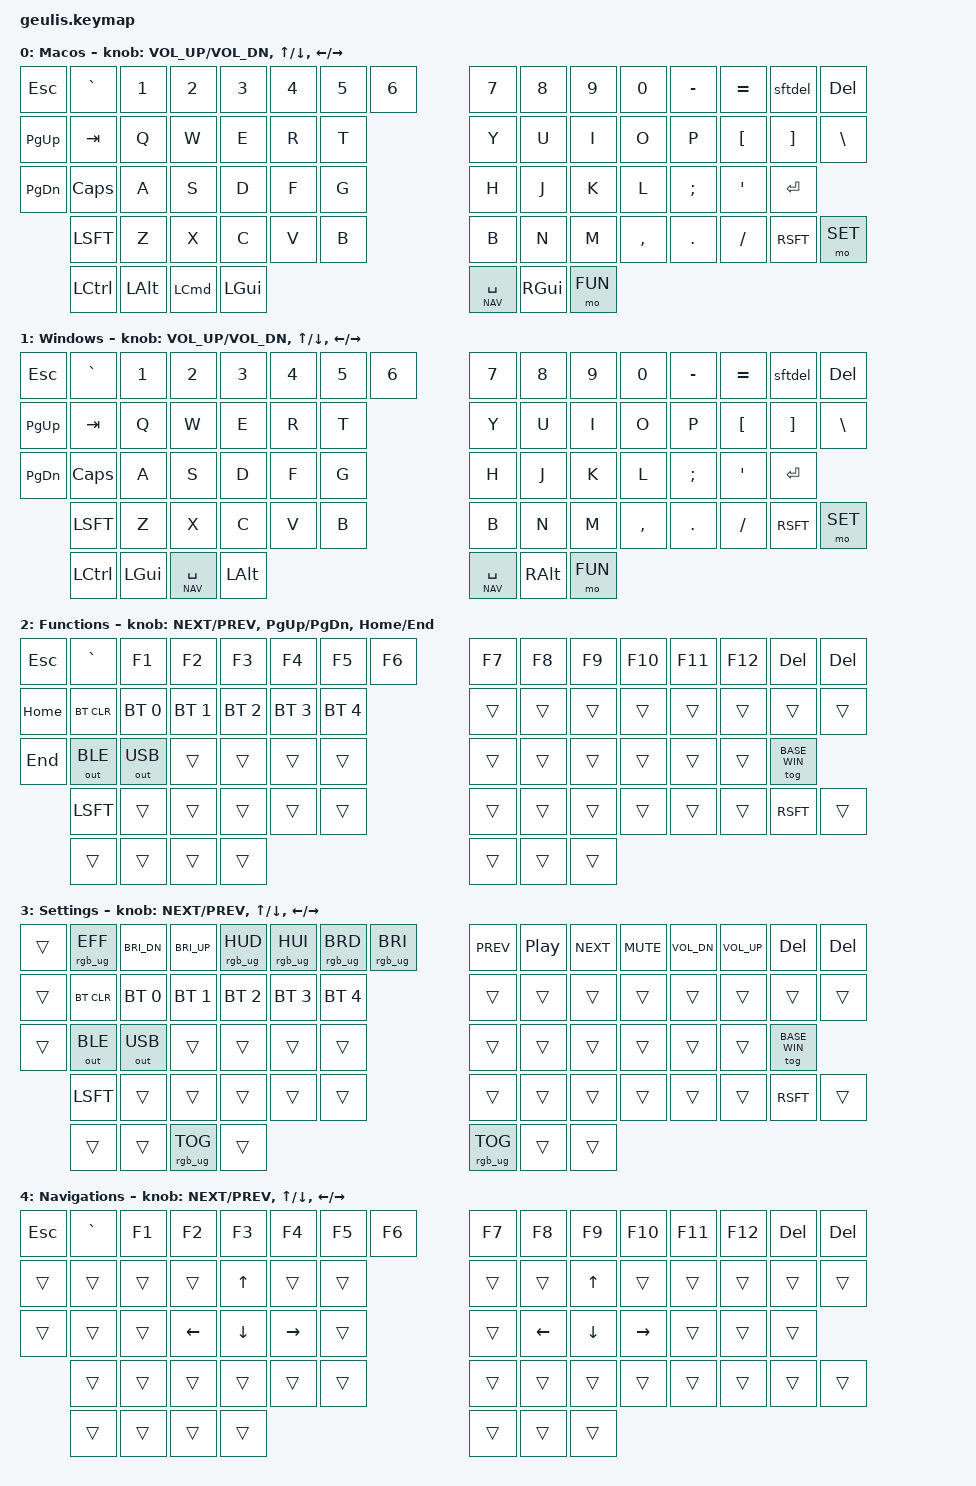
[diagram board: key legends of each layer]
/*
 * SPDX-License-Identifier: MIT
 */

#include <behaviors.dtsi>
#include <dt-bindings/zmk/keys.h>
#include <dt-bindings/zmk/bt.h>
#include <dt-bindings/zmk/outputs.h>
#include <dt-bindings/zmk/rgb.h>

#define BASE_MAC 0
#define BASE_WIN 1
#define FUN 2
#define SET 3
#define NAV 4

#define XXX &none
#define ___ &trans

&lt {
    tapping-term-ms = <400>;
};

/ {
	
	behaviors {
        sftdel: shift_del {
            compatible = "zmk,behavior-mod-morph";
            label = "SHIFT_DEL";
            #binding-cells = <0>;
			bindings = <&kp BKSP>, <&kp DEL>;
        	mods = <(MOD_LSFT|MOD_RSFT)>;
        };
    };


	 keymap {
		compatible = "zmk,keymap";
		

		default_layer {
			label = "Macos";

			bindings = <
	&kp ESC     &kp GRAVE &kp NUM_1  &kp NUM_2    &kp NUM_3  &kp NUM_4    &kp NUM_5 &kp NUM_6           &kp NUM_7 &kp NUM_8 &kp NUM_9 &kp NUM_0 &kp MINUS &kp EQL  &sftdel  &kp DEL
	&kp PG_UP   &kp TAB   &kp Q      &kp   W      &kp   E    &kp   R      &kp   T                       &kp   Y   &kp   U   &kp   I   &kp   O   &kp   P   &kp LBKT &kp RBKT &kp BSLH 
	&kp PG_DN   &kp CAPS  &kp A      &kp   S      &kp   D    &kp   F      &kp   G                		&kp   H   &kp   J   &kp   K   &kp   L   &kp  SCLN &kp QUOT &kp RET
	            &kp LSFT  &kp Z      &kp   X      &kp   C    &kp   V      &kp   B   					&kp   B   &kp   N   &kp   M   &kp  CMMA &kp  DOT  &kp FSLH &kp RSFT &mo SET
	            &kp LCTL  &kp LALT   &kp LCMD  &kp  LGUI     										&lt NAV SPC  &kp  RGUI  &mo FUN 
			>;

		    sensor-bindings = <&inc_dec_kp C_VOL_UP C_VOL_DN &inc_dec_kp UP DOWN &inc_dec_kp LEFT RIGHT>;
		};

        windows {
			label = "Windows";

			bindings = <
	&kp ESC     &kp GRAVE &kp NUM_1  &kp NUM_2    &kp NUM_3  &kp NUM_4    &kp NUM_5 &kp NUM_6           &kp NUM_7 &kp NUM_8 &kp NUM_9 &kp NUM_0 &kp MINUS &kp EQL  &sftdel  &kp DEL
	&kp PG_UP   &kp TAB   &kp Q      &kp   W      &kp   E    &kp   R      &kp   T                       &kp   Y   &kp   U   &kp   I   &kp   O   &kp   P   &kp LBKT &kp RBKT &kp BSLH 
	&kp PG_DN   &kp CAPS  &kp A      &kp   S      &kp   D    &kp   F      &kp   G                		&kp   H   &kp   J   &kp   K   &kp   L   &kp  SCLN &kp QUOT &kp RET
	            &kp LSFT  &kp Z      &kp   X      &kp   C    &kp   V      &kp   B   					&kp   B   &kp   N   &kp   M   &kp  CMMA &kp  DOT  &kp FSLH &kp RSFT &mo SET
	            &kp LCTL  &kp LGUI   &lt NAV SPC  &kp  LALT     										&lt NAV SPC  &kp  RALT  &mo FUN 
			>;

		    sensor-bindings = <&inc_dec_kp C_VOL_UP C_VOL_DN &inc_dec_kp UP DOWN &inc_dec_kp LEFT RIGHT>;
		};

        functions {
			label = "Functions";

			bindings = <
	&kp ESC   &kp GRAVE    &kp F1       &kp F2       &kp F3        &kp F4        &kp F5        &kp F6         &kp F7 &kp F8 &kp F9 &kp F10 &kp F11 &kp F12  &kp DEL        &kp DEL
	&kp HOME  &bt BT_CLR   &bt BT_SEL 0 &bt BT_SEL 1 &bt BT_SEL 2  &bt BT_SEL 3  &bt BT_SEL 4                 ___    ___    ___    ___     ___     ___      ___            ___
	&kp END   &out OUT_BLE &out OUT_USB ___          ___           ___           ___                          ___    ___    ___    ___     ___     ___      &tog BASE_WIN
	          &kp LSFT     ___          ___          ___           ___           ___                          ___    ___    ___    ___     ___     ___      &kp RSFT       ___
	       	  ___ 		   ___          ___          ___            										  ___    ___    ___ 
			>;

		    sensor-bindings = <&inc_dec_kp C_NEXT C_PREV &inc_dec_kp PG_UP PG_DN &inc_dec_kp HOME END>;
		};

        settings {
			label = "Settings";

			bindings = <
	___  &rgb_ug RGB_EFF  &kp C_BRI_DN  &kp C_BRI_UP     &rgb_ug RGB_HUD  &rgb_ug RGB_HUI  &rgb_ug RGB_BRD &rgb_ug RGB_BRI              &kp C_PREV &kp C_PP &kp C_NEXT &kp K_MUTE &kp C_VOL_DN  &kp C_VOL_UP   &kp DEL &kp DEL
	___  &bt BT_CLR       &bt BT_SEL 0  &bt BT_SEL 1     &bt BT_SEL 2     &bt BT_SEL 3     &bt BT_SEL 4    ___                          ___        ___      ___        ___        ___           ___            ___
	___  &out OUT_BLE     &out OUT_USB  ___ 		     ___ 			  ___ 				___ 		   ___ 						    ___        ___      ___        ___        ___           &tog BASE_WIN
	     &kp LSFT         ___ 			___ 		     ___ 			  ___ 				___ 		   ___ 						    ___        ___      ___        ___        ___           &kp RSFT       ___
	     ___ 			  ___ 			&rgb_ug RGB_TOG  ___ 																			&rgb_ug RGB_TOG ___ ___ 
			>;

		    sensor-bindings = <&inc_dec_kp C_NEXT C_PREV &inc_dec_kp UP DOWN &inc_dec_kp LEFT RIGHT>;
		};

        navigations {
			label = "Navigations";

			bindings = <
	&kp ESC   &kp GRAVE    &kp F1       &kp F2       &kp F3        &kp F4        &kp F5        &kp F6         &kp F7 &kp F8 &kp F9 &kp F10 &kp F11 &kp F12  &kp DEL        &kp DEL
	___ ___ ___ ___      &kp UP   ___       ___ ___ ___      &kp UP   ___       ___ ___ ___ ___ 
	___ ___ ___ &kp LEFT &kp DOWN &kp RIGHT ___ ___ &kp LEFT &kp DOWN &kp RIGHT ___ ___ ___ 
	    ___ ___ ___      ___      ___       ___ ___ ___      ___      ___       ___ ___ ___ ___ 
	    ___ ___ ___      ___      ___       ___ ___ 
			>;

		    sensor-bindings = <&inc_dec_kp C_NEXT C_PREV &inc_dec_kp UP DOWN &inc_dec_kp LEFT RIGHT>;
		};
       
	};

    // Uncomment to enable the encoder.
   
};

